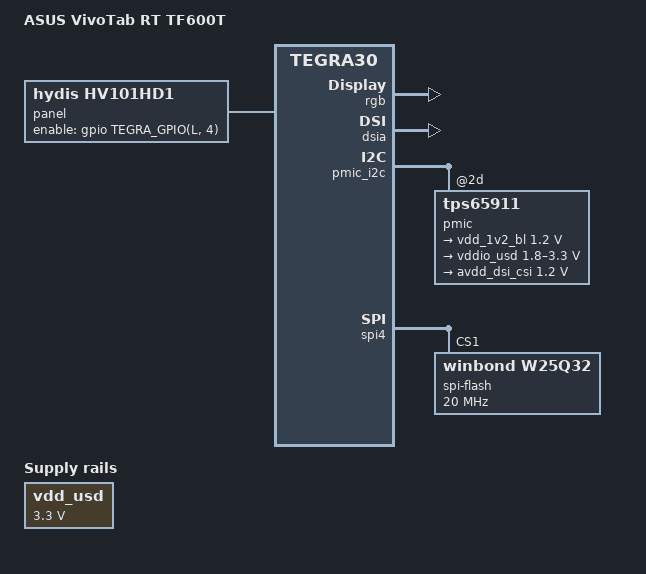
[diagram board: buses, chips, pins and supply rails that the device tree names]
// SPDX-License-Identifier: GPL-2.0
/dts-v1/;

#include "tegra30-asus-transformer.dtsi"

/ {
	model = "ASUS VivoTab RT TF600T";
	compatible = "asus,tf600t", "nvidia,tegra30";

	aliases {
		spi0 = &spi4;
	};

	host1x@50000000 {
		dc@54200000 {
			clocks = <&tegra_car TEGRA30_CLK_DISP1>,
				 <&tegra_car TEGRA30_CLK_PLL_D_OUT0>;

			rgb {
				status = "okay";

				nvidia,panel = <&dsia>;
			};
		};

		dsia: dsi@54300000 {
			status = "okay";

			avdd-dsi-csi-supply = <&avdd_dsi_csi>;

			panel = <&panel>;
		};
	};

	pmic_i2c: i2c@7000d000 {
		/* Texas Instruments TPS659110 PMIC */
		pmic: tps65911@2d {
			regulators {
				vdd_1v2_bl: vdd1 {
					regulator-name = "vdd_1v2_backlight";
					regulator-min-microvolt = <1200000>;
					regulator-max-microvolt = <1200000>;
					regulator-always-on;
					regulator-boot-on;
					ti,regulator-ext-sleep-control = <8>;
				};

				/delete-node/ ldo2;
				/delete-node/ ldo3;

				/* uSD slot VDDIO */
				vddio_usd: ldo5 {
					regulator-name = "vddio_sdmmc";
					regulator-min-microvolt = <1800000>;
					regulator-max-microvolt = <3300000>;
					regulator-always-on;
				};

				avdd_dsi_csi: ldo6 {
					regulator-name = "avdd_dsi_csi";
					regulator-min-microvolt = <1200000>;
					regulator-max-microvolt = <1200000>;
				};
			};
		};
	};

	spi4: spi@7000da00 {
		status = "okay";
		spi-max-frequency = <25000000>;

		spi-flash@1 {
			compatible = "winbond,w25q32", "jedec,spi-nor";
			reg = <1>;
			spi-max-frequency = <20000000>;
		};
	};

	backlight {
		power-supply = <&vdd_1v2_bl>;
		pwms = <&pwm 0 71428>;
	};

	gpio-keys {
		key-volume-up {
			label = "Volume Up";
			gpios = <&gpio TEGRA_GPIO(Q, 3) GPIO_ACTIVE_LOW>;
			linux,code = <KEY_UP>;
		};

		key-volume-down {
			label = "Volume Down";
			gpios = <&gpio TEGRA_GPIO(Q, 4) GPIO_ACTIVE_LOW>;
			linux,code = <KEY_DOWN>;
		};
	};

	panel {
		compatible = "hydis,hv101hd1";

		enable-gpios = <&gpio TEGRA_GPIO(L, 4) GPIO_ACTIVE_HIGH>;

		/delete-property/ power-supply;
		/delete-node/ display-timings;
	};

	vdd_usd: regulator-usd {
		compatible = "regulator-fixed";
		regulator-name = "vdd_usd";
		regulator-min-microvolt = <3300000>;
		regulator-max-microvolt = <3300000>;
	};

	/delete-node/ regulator-pnl;
	/delete-node/ regulator-bl;
};
